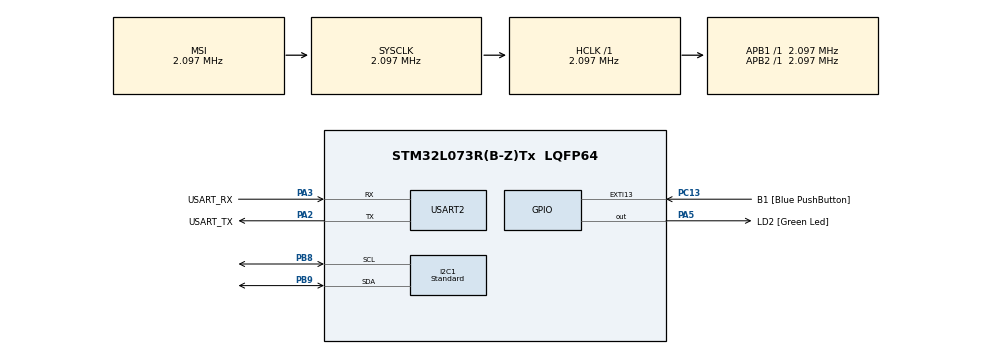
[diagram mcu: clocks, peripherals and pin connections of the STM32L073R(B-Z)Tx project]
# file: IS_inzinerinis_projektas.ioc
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I2C1.I2C_Speed_Mode=I2C_Standard
I2C1.Timing=0x00000608
Mcu.Family=STM32L0
Mcu.Name=STM32L073R(B-Z)Tx
Mcu.Package=LQFP64
PA13.GPIO_Label=TMS
PA13.Mode=Serial_Wire
PA13.Signal=SYS_SWDIO
PA14.GPIO_Label=TCK
PA14.Mode=Serial_Wire
PA14.Signal=SYS_SWCLK
PA2.GPIO_Label=USART_TX
PA2.Mode=Asynchronous
PA2.Signal=USART2_TX
PA3.GPIO_Label=USART_RX
PA3.Mode=Asynchronous
PA3.Signal=USART2_RX
PA5.GPIO_Label=LD2 [Green Led]
PA5.Signal=GPIO_Output
PB8.Mode=I2C
PB8.Signal=I2C1_SCL
PB9.Mode=I2C
PB9.Signal=I2C1_SDA
PC13.GPIO_Label=B1 [Blue PushButton]
PC13.GPIO_ModeDefaultEXTI=GPIO_MODE_IT_FALLING
PC13.Signal=GPXTI13
PC14-OSC32_IN.Mode=LSE-External-Oscillator
PC14-OSC32_IN.Signal=RCC_OSC32_IN
PC15-OSC32_OUT.Mode=LSE-External-Oscillator
PC15-OSC32_OUT.Signal=RCC_OSC32_OUT
PH0-OSC_IN.GPIO_Label=MCO
PH0-OSC_IN.Mode=HSE-External-Clock-Source
PH0-OSC_IN.Signal=RCC_OSC_IN
ProjectManager.HeapSize=0x200
ProjectManager.StackSize=0x400
ProjectManager.TargetToolchain=STM32CubeIDE
RCC.AHBFreq_Value=2097000
RCC.APB1Freq_Value=2097000
RCC.APB1TimFreq_Value=2097000
RCC.APB2Freq_Value=2097000
RCC.APB2TimFreq_Value=2097000
RCC.HSE_VALUE=8000000
RCC.HSI16_VALUE=16000000
RCC.HSI48_VALUE=48000000
RCC.HSI_VALUE=16000000
RCC.MSI_VALUE=2097000
RCC.SYSCLKFreq_VALUE=2097000
RCC.VCOOutputFreq_Value=48000000
USART2.VirtualMode-Asynchronous=VM_ASYNC
board=NUCLEO-L073RZ

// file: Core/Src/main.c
/* USER CODE BEGIN Header */
// ... (your existing header)
/* USER CODE END Header */
#include "main.h"

/* USER CODE BEGIN Includes */
#include "ssd1306.h"
#include "ssd1306_fonts.h"
#include "bmp280.h" // YOUR PROVIDED BMP280 DRIVER HEADER
#include <stdio.h>
#include <string.h>
#include <stdbool.h> // For bool type
/* USER CODE END Includes */

I2C_HandleTypeDef hi2c1;
UART_HandleTypeDef huart2;

/* USER CODE BEGIN PV */
BMP280_HandleTypedef bmp_handle;    // BMP280 device handle
bmp280_params_t bmp_sensor_params;  // Parameters for BMP280

char oled_buf[32]; // Buffer for OLED strings

bool first_display_occurred = false; // Flag to handle immediate first display
/* USER CODE END PV */

void SystemClock_Config(void);
static void MX_GPIO_Init(void);
static void MX_USART2_UART_Init(void);
static void MX_I2C1_Init(void);

/* USER CODE BEGIN 0 */
#ifdef __GNUC__
#define PUTCHAR_PROTOTYPE int __io_putchar(int ch)
#else
#define PUTCHAR_PROTOTYPE int fputc(int ch, FILE *f)
#endif

PUTCHAR_PROTOTYPE
{
  HAL_UART_Transmit(&huart2, (uint8_t *)&ch, 1, HAL_MAX_DELAY);
  return ch;
}
/* USER CODE END 0 */

int main(void)
{

  /* MCU Configuration--------------------------------------------------------*/

  /* Reset of all peripherals, Initializes the Flash interface and the Systick. */
  HAL_Init();

  /* Configure the system clock */
  SystemClock_Config();

  /* Initialize all configured peripherals */
  MX_GPIO_Init();
  MX_USART2_UART_Init();
  MX_I2C1_Init();
  /* USER CODE BEGIN 2 */
  // Initialize OLED display - essential for it to work.
  // OLED screen will remain blank until the first data is ready.
  ssd1306_Init();

  printf("System Booting... Initializing BMP280...\r\n"); // UART only for diagnostics

  // --- BMP280 Initialization ---
  bmp_handle.i2c = &hi2c1;
  bmp_handle.addr = BMP280_I2C_ADDRESS_0; // Ensure this is defined in bmp280.h (e.g. 0x76)

  bmp280_init_default_params(&bmp_sensor_params);

  bmp_sensor_params.mode = BMP280_MODE_NORMAL;
  bmp_sensor_params.filter = BMP280_FILTER_OFF;
  bmp_sensor_params.oversampling_pressure = BMP280_ULTRA_HIGH_RES;
  bmp_sensor_params.oversampling_temperature = BMP280_LOW_POWER;
  bmp_sensor_params.standby = BMP280_STANDBY_62;

  if (!bmp280_init(&bmp_handle, &bmp_sensor_params)) {
      printf("BMP280 Initialization Failed! Driver returned false. Chip ID read: 0x%02X. Addr: 0x%02X\r\n", bmp_handle.id, bmp_handle.addr << 1); // UART only
      while (1) { // Halt with LED blink on critical error
          HAL_GPIO_TogglePin(LD2_GPIO_Port, LD2_Pin);
          HAL_Delay(200);
      }
  } else {
      printf("BMP280 Initialized Successfully. Chip ID from handle: 0x%02X. Addr: 0x%02X\r\n", bmp_handle.id, bmp_handle.addr << 1); // UART only
  }
  /* USER CODE END 2 */

  /* Infinite loop */
  /* USER CODE BEGIN WHILE */
  #define BUFFER_SIZE 5
  float temp_buffer[BUFFER_SIZE] = {0};
  float press_buffer[BUFFER_SIZE] = {0};
  uint8_t buffer_index = 0;
  uint8_t sample_count = 0;

  uint32_t last_sample_time = HAL_GetTick(); // Initialize to start sampling immediately
  uint32_t last_display_time = HAL_GetTick(); // Used for 5s interval *between* displays

  while (1)
  {
    uint32_t now = HAL_GetTick();

    // Sample data every 1000ms (1 second)
    if (now - last_sample_time >= 1000)
    {
        last_sample_time = now;

        float current_temp = 0.0f, current_press = 0.0f, current_hum = 0.0f; // hum is dummy for BMP280
        if (bmp280_read_float(&bmp_handle, &current_temp, &current_press, &current_hum))
        {
            // Convert pressure from Pa to hPa
            current_press /= 100.0f;

            temp_buffer[buffer_index] = current_temp;
            press_buffer[buffer_index] = current_press;

            buffer_index = (buffer_index + 1) % BUFFER_SIZE;
            if (sample_count < BUFFER_SIZE)
            {
                sample_count++;
            }
        }
        else
        {
            printf("Failed to read from BMP280\r\n"); // UART only
        }
    }

    // Conditions for display update
    bool buffer_full = (sample_count == BUFFER_SIZE);
    bool display_interval_elapsed = (now - last_display_time >= 5000);

    // Display on OLED if buffer is full AND (it's the first display OR 5s interval has passed)
    if (buffer_full && (!first_display_occurred || display_interval_elapsed))
    {
        last_display_time = now; // Reset display timer
        if (!first_display_occurred) {
            first_display_occurred = true;
        }

        float temp_avg = 0.0f, press_avg = 0.0f;
        for (int i = 0; i < BUFFER_SIZE; i++)
        {
            temp_avg += temp_buffer[i];
            press_avg += press_buffer[i];
        }
        temp_avg /= BUFFER_SIZE;
        press_avg /= BUFFER_SIZE;

        // OLED Display: ONLY Temperature and Pressure
        ssd1306_Fill(Black); // Clear previous content

        snprintf(oled_buf, sizeof(oled_buf), "T: %.2f C", temp_avg);
        ssd1306_SetCursor(0, 0); // Position for Temperature
        ssd1306_WriteString(oled_buf, Font_7x10, White);

        snprintf(oled_buf, sizeof(oled_buf), "P: %.2f hPa", press_avg);
        ssd1306_SetCursor(0, 12); // Position for Pressure
        ssd1306_WriteString(oled_buf, Font_7x10, White);

        ssd1306_UpdateScreen();

        // UART Transmission (Temperature and Pressure)
        char uart_buf[64];
        int len = snprintf(uart_buf, sizeof(uart_buf), "AVG T: %.2f C, P: %.2f hPa\r\n", temp_avg, press_avg);
        HAL_UART_Transmit(&huart2, (uint8_t *)uart_buf, len, HAL_MAX_DELAY);
    }
    // If 5s interval elapsed but buffer is not yet full (e.g. initial collection taking time, or sensor read issues)
    // OR if it's simply not time for the next display yet but we want periodic UART updates for collection status.
    // This 'else if' is primarily for UART status updates during initial collection if it spans a 5s mark.
    else if (display_interval_elapsed && !buffer_full)
    {
        last_display_time = now; // Reset this timer to avoid spamming UART if collection is slow
        printf("Collecting data (%d/%d samples)...\r\n", sample_count, BUFFER_SIZE); // UART only
    }
    /* USER CODE END WHILE */

  }
}

void SystemClock_Config(void)
{
  RCC_OscInitTypeDef RCC_OscInitStruct = {0};
  RCC_ClkInitTypeDef RCC_ClkInitStruct = {0};
  RCC_PeriphCLKInitTypeDef PeriphClkInit = {0};

  /** Configure the main internal regulator output voltage
  */
  __HAL_PWR_VOLTAGESCALING_CONFIG(PWR_REGULATOR_VOLTAGE_SCALE1);

  /** Initializes the RCC Oscillators according to the specified parameters
  * in the RCC_OscInitTypeDef structure.
  */
  RCC_OscInitStruct.OscillatorType = RCC_OSCILLATORTYPE_MSI;
  RCC_OscInitStruct.MSIState = RCC_MSI_ON;
  RCC_OscInitStruct.MSICalibrationValue = 0;
  RCC_OscInitStruct.MSIClockRange = RCC_MSIRANGE_5;
  RCC_OscInitStruct.PLL.PLLState = RCC_PLL_NONE;
  if (HAL_RCC_OscConfig(&RCC_OscInitStruct) != HAL_OK)
  {
    Error_Handler();
  }

  /** Initializes the CPU, AHB and APB buses clocks
  */
  RCC_ClkInitStruct.ClockType = RCC_CLOCKTYPE_HCLK|RCC_CLOCKTYPE_SYSCLK
                              |RCC_CLOCKTYPE_PCLK1|RCC_CLOCKTYPE_PCLK2;
  RCC_ClkInitStruct.SYSCLKSource = RCC_SYSCLKSOURCE_MSI;
  RCC_ClkInitStruct.AHBCLKDivider = RCC_SYSCLK_DIV1;
  RCC_ClkInitStruct.APB1CLKDivider = RCC_HCLK_DIV1;
  RCC_ClkInitStruct.APB2CLKDivider = RCC_HCLK_DIV1;

  if (HAL_RCC_ClockConfig(&RCC_ClkInitStruct, FLASH_LATENCY_0) != HAL_OK)
  {
    Error_Handler();
  }
  PeriphClkInit.PeriphClockSelection = RCC_PERIPHCLK_USART2|RCC_PERIPHCLK_I2C1;
  PeriphClkInit.Usart2ClockSelection = RCC_USART2CLKSOURCE_PCLK1;
  PeriphClkInit.I2c1ClockSelection = RCC_I2C1CLKSOURCE_PCLK1;
  if (HAL_RCCEx_PeriphCLKConfig(&PeriphClkInit) != HAL_OK)
  {
    Error_Handler();
  }
}

static void MX_I2C1_Init(void)
{

  hi2c1.Instance = I2C1;
  hi2c1.Init.Timing = 0x00000608;
  hi2c1.Init.OwnAddress1 = 0;
  hi2c1.Init.AddressingMode = I2C_ADDRESSINGMODE_7BIT;
  hi2c1.Init.DualAddressMode = I2C_DUALADDRESS_DISABLE;
  hi2c1.Init.OwnAddress2 = 0;
  hi2c1.Init.OwnAddress2Masks = I2C_OA2_NOMASK;
  hi2c1.Init.GeneralCallMode = I2C_GENERALCALL_DISABLE;
  hi2c1.Init.NoStretchMode = I2C_NOSTRETCH_DISABLE;
  if (HAL_I2C_Init(&hi2c1) != HAL_OK)
  {
    Error_Handler();
  }

  /** Configure Analogue filter
  */
  if (HAL_I2CEx_ConfigAnalogFilter(&hi2c1, I2C_ANALOGFILTER_ENABLE) != HAL_OK)
  {
    Error_Handler();
  }

  /** Configure Digital filter
  */
  if (HAL_I2CEx_ConfigDigitalFilter(&hi2c1, 0) != HAL_OK)
  {
    Error_Handler();
  }

}

static void MX_USART2_UART_Init(void)
{

  huart2.Instance = USART2;
  huart2.Init.BaudRate = 115200;
  huart2.Init.WordLength = UART_WORDLENGTH_8B;
  huart2.Init.StopBits = UART_STOPBITS_1;
  huart2.Init.Parity = UART_PARITY_NONE;
  huart2.Init.Mode = UART_MODE_TX_RX;
  huart2.Init.HwFlowCtl = UART_HWCONTROL_NONE;
  huart2.Init.OverSampling = UART_OVERSAMPLING_16;
  huart2.Init.OneBitSampling = UART_ONE_BIT_SAMPLE_DISABLE;
  huart2.AdvancedInit.AdvFeatureInit = UART_ADVFEATURE_NO_INIT;
  if (HAL_UART_Init(&huart2) != HAL_OK)
  {
    Error_Handler();
  }

}

static void MX_GPIO_Init(void)
{
  GPIO_InitTypeDef GPIO_InitStruct = {0};

  /* GPIO Ports Clock Enable */
  __HAL_RCC_GPIOC_CLK_ENABLE();
  __HAL_RCC_GPIOH_CLK_ENABLE();
  __HAL_RCC_GPIOA_CLK_ENABLE();
  __HAL_RCC_GPIOB_CLK_ENABLE();

  /*Configure GPIO pin Output Level */
  HAL_GPIO_WritePin(LD2_GPIO_Port, LD2_Pin, GPIO_PIN_RESET);

  /*Configure GPIO pin : B1_Pin */
  GPIO_InitStruct.Pin = B1_Pin;
  GPIO_InitStruct.Mode = GPIO_MODE_IT_FALLING;
  GPIO_InitStruct.Pull = GPIO_NOPULL;
  HAL_GPIO_Init(B1_GPIO_Port, &GPIO_InitStruct);

  /*Configure GPIO pin : LD2_Pin */
  GPIO_InitStruct.Pin = LD2_Pin;
  GPIO_InitStruct.Mode = GPIO_MODE_OUTPUT_PP;
  GPIO_InitStruct.Pull = GPIO_NOPULL;
  GPIO_InitStruct.Speed = GPIO_SPEED_FREQ_LOW;
  HAL_GPIO_Init(LD2_GPIO_Port, &GPIO_InitStruct);

}

void Error_Handler(void)
{
  /* USER CODE BEGIN Error_Handler_Debug */
  printf("!!! HAL Error Handler Called !!!\r\n"); // UART only
  __disable_irq();
  while (1)
  {
      HAL_GPIO_TogglePin(LD2_GPIO_Port, LD2_Pin);
      HAL_Delay(100);
  }
  /* USER CODE END Error_Handler_Debug */
}

#ifdef  USE_FULL_ASSERT
/**
  * @brief  Reports the name of the source file and the source line number
  * where the assert_param error has occurred.
  * @param  file: pointer to the source file name
  * @param  line: assert_param error line source number
  * @retval None
  */
void assert_failed(uint8_t *file, uint32_t line)
{
  /* USER CODE BEGIN 6 */
  printf("Wrong parameters value: file %s on line %lu\r\n", file, line); // UART only
  /* USER CODE END 6 */
}
#endif /* USE_FULL_ASSERT */
